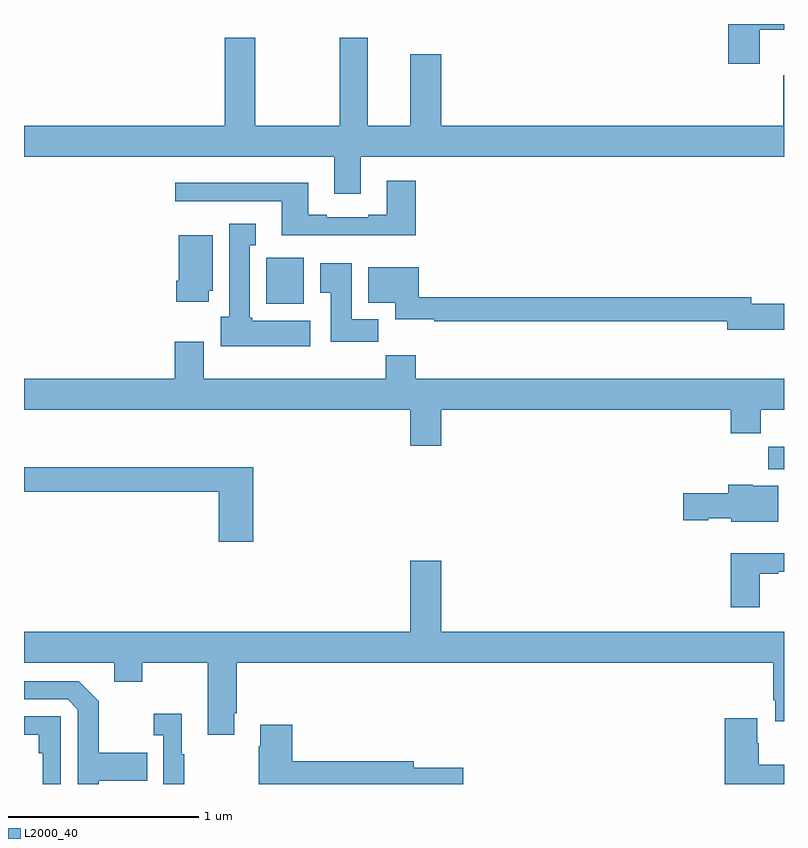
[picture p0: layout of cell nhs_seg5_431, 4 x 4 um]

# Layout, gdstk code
import gdstk
lib = gdstk.Library(unit=1e-6, precision=1e-09)
def R(c, l, rs):  # rectangles x0, y0, x1, y1
    for r in rs: c.add(gdstk.rectangle(r[:2], r[2:], *l))
def P(c, l, *ps):  # polygons
    for p in ps: c.add(gdstk.Polygon(p, *l))
L2000_40 = (2000, 40)

nhs_seg5_431 = lib.new_cell('nhs_seg5_431')
R(nhs_seg5_431, L2000_40, [(142.918,848.456,143,848.574), (140.276,849.326,140.473,849.568)])
P(nhs_seg5_431, L2000_40, [(142.873,850.769),(143,850.769),(143,850.799),(142.706,850.799),(142.706,850.59),(142.873,850.59)],
  [(140.773,850.1),(143,850.1),(143,850.529),(142.997,850.529),(142.997,850.264),(141.196,850.264),(141.196,850.639),(141.032,850.639),(141.032,850.264),(140.809,850.264),(140.809,850.726),(140.662,850.726),(140.662,850.264),(140.217,850.264),(140.217,850.726),(140.057,850.726),(140.057,850.264),(139,850.264),(139,850.1),(140.633,850.1),(140.633,849.906),(140.773,849.906)],
  [(141.062,849.973),(140.909,849.973),(140.909,849.796),(140.813,849.796),(140.813,849.783),(140.593,849.783),(140.593,849.796),(140.497,849.796),(140.497,849.964),(139.797,849.964),(139.797,849.867),(140.357,849.867),(140.357,849.686),(141.062,849.686)],
  [(140.506,849.238),(140.202,849.238),(140.202,849.252),(140.188,849.252),(140.188,849.635),(140.221,849.635),(140.221,849.748),(140.081,849.748),(140.081,849.258),(140.036,849.258),(140.036,849.104),(140.506,849.104)],
  [(139.972,849.396),(139.993,849.396),(139.993,849.688),(139.814,849.688),(139.814,849.448),(139.802,849.448),(139.802,849.336),(139.972,849.336)],
  [(140.864,849.244),(140.725,849.244),(140.725,849.541),(140.558,849.541),(140.558,849.385),(140.615,849.385),(140.615,849.126),(140.864,849.126)],
  [(143,849.326),(142.828,849.326),(142.828,849.362),(141.077,849.362),(141.077,849.52),(140.813,849.52),(140.813,849.332),(140.954,849.332),(140.954,849.245),(141.16,849.245),(141.16,849.234),(142.7,849.234),(142.7,849.191),(143,849.191)],
  [(141.196,848.768),(142.721,848.768),(142.721,848.644),(142.877,848.644),(142.877,848.768),(143,848.768),(143,848.932),(141.062,848.932),(141.062,849.056),(140.905,849.056),(140.905,848.932),(139.945,848.932),(139.945,849.127),(139.793,849.127),(139.793,848.932),(139,848.932),(139,848.768),(141.032,848.768),(141.032,848.58),(141.196,848.58)],
  [(140.207,848.467),(139,848.467),(139,848.338),(140.024,848.338),(140.024,848.073),(140.207,848.073)],
  [(142.969,848.368),(142.836,848.368),(142.836,848.374),(142.706,848.374),(142.706,848.328),(142.47,848.328),(142.47,848.186),(142.602,848.186),(142.602,848.198),(142.722,848.198),(142.722,848.18),(142.969,848.18)],
  [(142.873,847.905),(142.969,847.905),(142.969,847.917),(143,847.917),(143,848.014),(142.721,848.014),(142.721,847.728),(142.873,847.728)],
  [(140.107,847.171),(140.12,847.171),(140.12,847.436),(142.943,847.436),(142.943,847.24),(142.955,847.24),(142.955,847.128),(143,847.128),(143,847.6),(141.196,847.6),(141.196,847.975),(141.032,847.975),(141.032,847.6),(139,847.6),(139,847.436),(139.475,847.436),(139.475,847.337),(139.623,847.337),(139.623,847.436),(139.967,847.436),(139.967,847.059),(140.107,847.059)],
  [(139.393,846.815),(139.649,846.815),(139.649,846.963),(139.393,846.963),(139.393,847.235),(139.287,847.341),(139,847.341),(139,847.245),(139.23,847.245),(139.284,847.191),(139.284,846.799),(139.393,846.799)],
  [(139.843,846.955),(139.831,846.955),(139.831,847.168),(139.683,847.168),(139.683,847.055),(139.734,847.055),(139.734,846.799),(139.843,846.799)],
  [(139.194,847.155),(139,847.155),(139,847.059),(139.078,847.059),(139.078,846.962),(139.098,846.962),(139.098,846.799),(139.194,846.799)],
  [(143,846.901),(142.866,846.901),(142.866,847.014),(142.858,847.014),(142.858,847.144),(142.688,847.144),(142.688,846.799),(143,846.799)],
  [(141.313,846.884),(141.052,846.884),(141.052,846.92),(140.411,846.92),(140.411,847.111),(140.243,847.111),(140.243,846.998),(140.236,846.998),(140.236,846.799),(141.313,846.799)])

lib.write_gds('nhs_seg5_431.gds')
